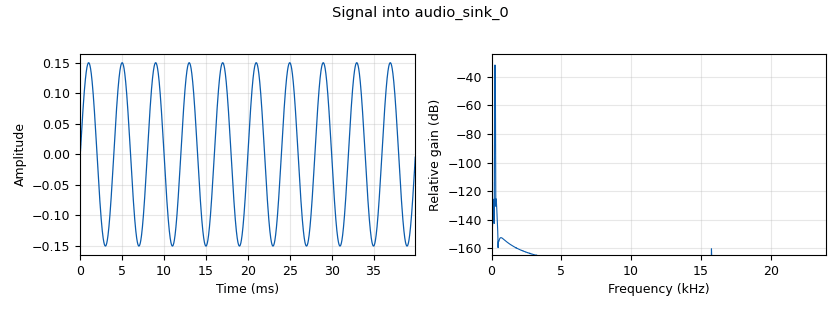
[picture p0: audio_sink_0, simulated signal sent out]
options:
  parameters:
    author: JI
    generate_options: no_gui
    id: SampRateMatching
    output_language: python
    title: SampRateMatching
  states: {}

blocks:
- name: samp_rate
  id: variable
  parameters:
    value: int(48e3)
  states: {}
- name: source_sample_rate
  id: variable
  parameters:
    value: int(4e6)
  states: {}
- name: analog_sig_source_x_0
  id: analog_sig_source_x
  parameters:
    amp: '.15'
    freq: '250'
    offset: '0'
    phase: '0'
    samp_rate: source_sample_rate
    type: float
    waveform: analog.GR_COS_WAVE
  states: {}
- name: audio_sink_0
  id: audio_sink
  parameters:
    samp_rate: samp_rate
  states: {}
- name: rational_resampler_xxx_0
  id: rational_resampler_xxx
  parameters:
    decim: source_sample_rate
    interp: samp_rate
    taps: ''
    type: fff
  states: {}

connections:
- [analog_sig_source_x_0, '0', rational_resampler_xxx_0, '0']
- [rational_resampler_xxx_0, '0', audio_sink_0, '0']

metadata:
  file_format: 1
